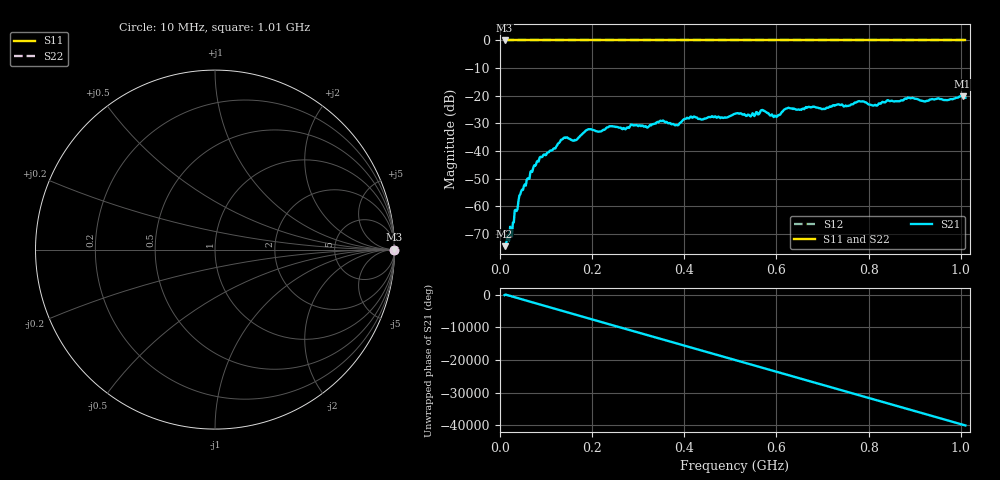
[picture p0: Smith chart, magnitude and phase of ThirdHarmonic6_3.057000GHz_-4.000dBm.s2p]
! 8/17/2025 8:53:46 AM
! C:\ANRITSUVNA\TEMP\TEMP.S2P
! CHANNEL.1
! TR.MEASUREMENT
! RAW.DATA
! RF.CORRECTION.OFF
! AVERAGING.OFF
! IF.BANDWIDTH: 5KHZ
! SWEEPTYPE:  FREQ.SWEEP(Linear)
! Reference Plane Port Info
! PORT:  PORT1  PORT2
! DISTANCE:  0  m  0  m
! TIME:  0  s  0  s
! PHASE.OFFSET:  0  deg.  0  deg.
! LOSS:  0  dB  0  dB
! REF.LOSS:  0  dB  0  dB
! REF.FREQ:  0  Hz  0  Hz
! Power Info
! POWER:  -20  dBm  -20  dBm
! EFF.POWER:  -20  dBm  -20  dBm
! SOURCE.ATTEN:  0  dB  0  dB
! TEST.ATTEN:  0  dB  0  dB
# GHZ S RI R 50.0
! FREQ.GHZ  S11RE  S11IM  S21RE  S21IM  S12RE  S12IM  S22RE  S22IM
!; PortSelection: Port_12
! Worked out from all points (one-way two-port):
!   501 points, 10 MHz to 1.01 GHz, reference 50 ohm
!   highest |S21| = -20.16 dB at 1.004 GHz (marker M1); lowest = -74.4 dB at 10 MHz (marker M2)
!   lowest |S11| = 0.0 dB at 10 MHz (marker M3)
!   |S11| at or under -10 dB: nowhere
!   |S22| runs from 0.0 to 0.0 dB; largest |S21 - S12| = 1.1
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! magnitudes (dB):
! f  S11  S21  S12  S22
! 10 MHz  0.0  -74.4  0.0  0.0
! 24 MHz  0.0  -69.9  0.0  0.0
! 44 MHz  0.0  -55.6  0.0  0.0
! 84 MHz  0.0  -43.7  0.0  0.0
! 136 MHz  0.0  -35.7  0.0  0.0
! 162 MHz  0.0  -36.0  0.0  0.0
! 178 MHz  0.0  -33.9  0.0  0.0
! 194 MHz  0.0  -32.1  0.0  0.0
! 318 MHz  0.0  -31.3  0.0  0.0
! 344 MHz  0.0  -29.6  0.0  0.0
! 384 MHz  0.0  -30.5  0.0  0.0
! 416 MHz  0.0  -27.8  0.0  0.0
! 510 MHz  0.0  -26.5  0.0  0.0
! 570 MHz  0.0  -25.1  0.0  0.0
! 598 MHz  0.0  -27.3  0.0  0.0
! 624 MHz  0.0  -24.5  0.0  0.0
! 678 MHz  0.0  -24.0  0.0  0.0
! 782 MHz  0.0  -22.1  0.0  0.0
! 814 MHz  0.0  -23.3  0.0  0.0
! 844 MHz  0.0  -21.8  0.0  0.0
! 1.004 GHz  0.0  -20.2  0.0  0.0
! 1.01 GHz  0.0  -20.7  0.0  0.0
